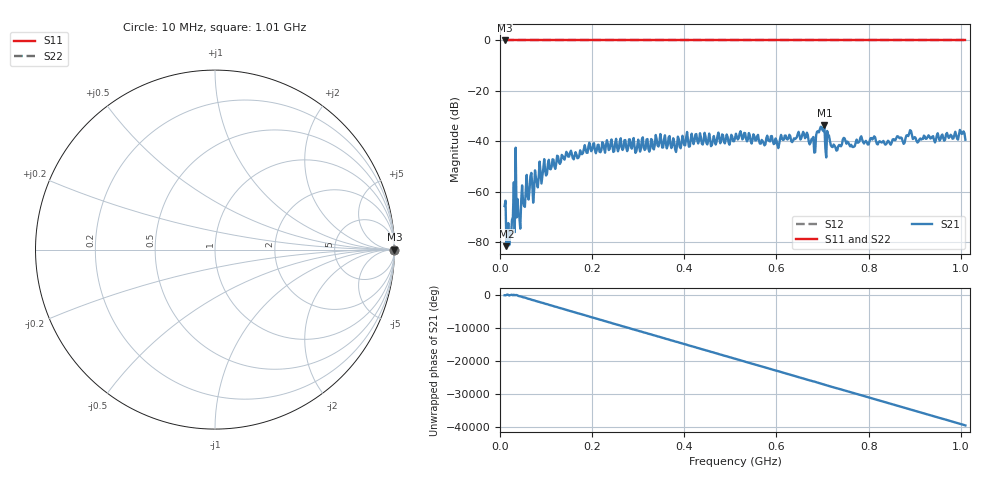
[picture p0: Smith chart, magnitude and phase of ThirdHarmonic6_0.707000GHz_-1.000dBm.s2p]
! 8/15/2025 11:38:13 PM
! C:\ANRITSUVNA\TEMP\TEMP.S2P
! CHANNEL.1
! TR.MEASUREMENT
! RAW.DATA
! RF.CORRECTION.OFF
! AVERAGING.OFF
! IF.BANDWIDTH: 5KHZ
! SWEEPTYPE:  FREQ.SWEEP(Linear)
! Reference Plane Port Info
! PORT:  PORT1  PORT2
! DISTANCE:  0  m  0  m
! TIME:  0  s  0  s
! PHASE.OFFSET:  0  deg.  0  deg.
! LOSS:  0  dB  0  dB
! REF.LOSS:  0  dB  0  dB
! REF.FREQ:  0  Hz  0  Hz
! Power Info
! POWER:  -20  dBm  -20  dBm
! EFF.POWER:  -20  dBm  -20  dBm
! SOURCE.ATTEN:  0  dB  0  dB
! TEST.ATTEN:  0  dB  0  dB
# GHZ S RI R 50.0
! FREQ.GHZ  S11RE  S11IM  S21RE  S21IM  S12RE  S12IM  S22RE  S22IM
!; PortSelection: Port_12
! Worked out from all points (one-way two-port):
!   501 points, 10 MHz to 1.01 GHz, reference 50 ohm
!   highest |S21| = -33.57 dB at 704 MHz (marker M1); lowest = -81.7 dB at 14 MHz (marker M2)
!   lowest |S11| = 0.0 dB at 10 MHz (marker M3)
!   |S11| at or under -10 dB: nowhere
!   |S22| runs from 0.0 to 0.0 dB; largest |S21 - S12| = 1
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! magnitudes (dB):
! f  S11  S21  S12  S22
! 10 MHz  0.0  -65.7  0.0  0.0
! 14 MHz  0.0  -81.7  0.0  0.0
! 18 MHz  0.0  -72.5  0.0  0.0
! 24 MHz  0.0  -77.6  0.0  0.0
! 28 MHz  0.0  -70.1  0.0  0.0
! 30 MHz  0.0  -56.3  0.0  0.0
! 34 MHz  0.0  -42.6  0.0  0.0
! 38 MHz  0.0  -62.9  0.0  0.0
! 40 MHz  0.0  -69.1  0.0  0.0
! 62 MHz  0.0  -63.1  0.0  0.0
! 90 MHz  0.0  -56.8  0.0  0.0
! 178 MHz  0.0  -45.1  0.0  0.0
! 344 MHz  0.0  -42.1  0.0  0.0
! 510 MHz  0.0  -38.8  0.0  0.0
! 678 MHz  0.0  -39.0  0.0  0.0
! 700 MHz  0.0  -35.6  0.0  0.0
! 704 MHz  0.0  -33.6  0.0  0.0
! 730 MHz  0.0  -43.7  0.0  0.0
! 748 MHz  0.0  -38.9  0.0  0.0
! 844 MHz  0.0  -40.1  0.0  0.0
! 888 MHz  0.0  -37.0  0.0  0.0
! 1.01 GHz  0.0  -39.4  0.0  0.0
